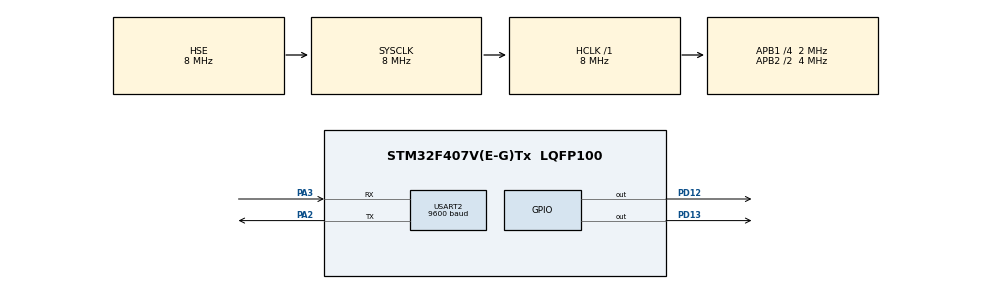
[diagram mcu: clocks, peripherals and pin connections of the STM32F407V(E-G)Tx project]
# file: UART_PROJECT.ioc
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Mcu.Family=STM32F4
Mcu.Name=STM32F407V(E-G)Tx
Mcu.Package=LQFP100
NVIC.PriorityGroup=NVIC_PRIORITYGROUP_0
NVIC.USART2_IRQn=true\:0\:0\:false\:false\:true\:true\:true\:true
PA2.Mode=Asynchronous
PA2.Signal=USART2_TX
PA3.Mode=Asynchronous
PA3.Signal=USART2_RX
PD12.Signal=GPIO_Output
PD13.Signal=GPIO_Output
PH0-OSC_IN.Mode=HSE-External-Oscillator
PH0-OSC_IN.Signal=RCC_OSC_IN
PH1-OSC_OUT.Mode=HSE-External-Oscillator
PH1-OSC_OUT.Signal=RCC_OSC_OUT
ProjectManager.HeapSize=0x200
ProjectManager.StackSize=0x400
ProjectManager.TargetToolchain=STM32CubeIDE
RCC.48MHZClocksFreq_Value=48000000
RCC.AHBFreq_Value=8000000
RCC.APB1CLKDivider=RCC_HCLK_DIV4
RCC.APB1Freq_Value=2000000
RCC.APB1TimFreq_Value=4000000
RCC.APB2CLKDivider=RCC_HCLK_DIV2
RCC.APB2Freq_Value=4000000
RCC.APB2TimFreq_Value=8000000
RCC.CortexFreq_Value=8000000
RCC.HCLKFreq_Value=8000000
RCC.HSE_VALUE=8000000
RCC.HSI_VALUE=16000000
RCC.LSE_VALUE=32768
RCC.PLLM=8
RCC.PLLN=336
RCC.PLLQ=7
RCC.PLLSourceVirtual=RCC_PLLSOURCE_HSE
RCC.SYSCLKFreq_VALUE=8000000
RCC.SYSCLKSource=RCC_SYSCLKSOURCE_HSE
RCC.VCOOutputFreq_Value=336000000
USART2.BaudRate=9600
USART2.VirtualMode=VM_ASYNC
board=STM32F407G-DISC1

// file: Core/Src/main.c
/* USER CODE BEGIN Header */
/**
  ******************************************************************************
  * @file           : main.c
  * @brief          : Main program body
  ******************************************************************************
  * @attention
  *
  * Copyright (c) 2024 STMicroelectronics.
  * All rights reserved.
  *
  * This software is licensed under terms that can be found in the LICENSE file
  * in the root directory of this software component.
  * If no LICENSE file comes with this software, it is provided AS-IS.
  *
  ******************************************************************************
  */
/* USER CODE END Header */
#include "main.h"

UART_HandleTypeDef huart2;

/* USER CODE BEGIN PV */
uint8_t *txData ;
uint8_t *rxData ;
UART_HandleTypeDef huart1 ;
volatile int flag = 0 ;

/* USER CODE END PV */

void SystemClock_Config(void);
static void MX_GPIO_Init(void);
static void MX_USART2_UART_Init(void);

/* USER CODE BEGIN 0 */

int cmpTableau(uint8_t* rxData ,uint8_t* txData){
	char i = 0;
	char test = 1;
	while( (test) && (i <= 3)){
		if (*(rxData + i) != *(txData + i))
				test = 0 ;
	    i ++;
	}
	return test ;
}

uint8_t * inverse_ping_pong (uint8_t *Data ) {
	if (Data == "ping")
		return ( uint8_t *)"pong";
	else
		return ( uint8_t *)"ping" ;
}

void HAL_UART_RxCpltCallback(UART_HandleTypeDef *huart)
{
	if (cmpTableau(rxData , ( uint8_t *)"ping")){
		HAL_GPIO_WritePin( GPIOD,  GPIO_PIN_12 , GPIO_PIN_SET);
		flag = 1;
	}
	else if (cmpTableau(rxData ,( uint8_t *) "pong")){

		HAL_GPIO_WritePin( GPIOD,  GPIO_PIN_13 , GPIO_PIN_SET);
		flag = 1;

	}

}

void HAL_UART_TxCpltCallback(UART_HandleTypeDef *huart)
{
	flag = 0 ;
	UART_Start_Receive_IT(&huart1, rxData , 5);

}
/* USER CODE END 0 */

int main(void)
{

  /* MCU Configuration--------------------------------------------------------*/

  /* Reset of all peripherals, Initializes the Flash interface and the Systick. */
  HAL_Init();

  /* Configure the system clock */
  SystemClock_Config();

  /* Initialize all configured peripherals */
  MX_GPIO_Init();
  MX_USART2_UART_Init();
  /* USER CODE BEGIN 2 */

  HAL_UART_Transmit_IT(&huart2,( uint8_t)"ping", 5);
  UART_Start_Receive_IT(&huart1, rxData , 5);

  /* USER CODE END 2 */

  /* Infinite loop */
  /* USER CODE BEGIN WHILE */
  while (1)
  {
	  if (flag){

		  txData = inverse_ping_pong (rxData ) ;
		  HAL_UART_Transmit_IT(&huart2, txData, 5);
	}

    /* USER CODE END WHILE */

  }
}

void SystemClock_Config(void)
{
  RCC_OscInitTypeDef RCC_OscInitStruct = {0};
  RCC_ClkInitTypeDef RCC_ClkInitStruct = {0};

  /** Configure the main internal regulator output voltage
  */
  __HAL_RCC_PWR_CLK_ENABLE();
  __HAL_PWR_VOLTAGESCALING_CONFIG(PWR_REGULATOR_VOLTAGE_SCALE1);

  /** Initializes the RCC Oscillators according to the specified parameters
  * in the RCC_OscInitTypeDef structure.
  */
  RCC_OscInitStruct.OscillatorType = RCC_OSCILLATORTYPE_HSE;
  RCC_OscInitStruct.HSEState = RCC_HSE_ON;
  RCC_OscInitStruct.PLL.PLLState = RCC_PLL_NONE;
  if (HAL_RCC_OscConfig(&RCC_OscInitStruct) != HAL_OK)
  {
    Error_Handler();
  }

  /** Initializes the CPU, AHB and APB buses clocks
  */
  RCC_ClkInitStruct.ClockType = RCC_CLOCKTYPE_HCLK|RCC_CLOCKTYPE_SYSCLK
                              |RCC_CLOCKTYPE_PCLK1|RCC_CLOCKTYPE_PCLK2;
  RCC_ClkInitStruct.SYSCLKSource = RCC_SYSCLKSOURCE_HSE;
  RCC_ClkInitStruct.AHBCLKDivider = RCC_SYSCLK_DIV1;
  RCC_ClkInitStruct.APB1CLKDivider = RCC_HCLK_DIV4;
  RCC_ClkInitStruct.APB2CLKDivider = RCC_HCLK_DIV2;

  if (HAL_RCC_ClockConfig(&RCC_ClkInitStruct, FLASH_LATENCY_0) != HAL_OK)
  {
    Error_Handler();
  }
}

static void MX_USART2_UART_Init(void)
{

  huart2.Instance = USART2;
  huart2.Init.BaudRate = 9600;
  huart2.Init.WordLength = UART_WORDLENGTH_8B;
  huart2.Init.StopBits = UART_STOPBITS_1;
  huart2.Init.Parity = UART_PARITY_NONE;
  huart2.Init.Mode = UART_MODE_TX_RX;
  huart2.Init.HwFlowCtl = UART_HWCONTROL_NONE;
  huart2.Init.OverSampling = UART_OVERSAMPLING_16;
  if (HAL_UART_Init(&huart2) != HAL_OK)
  {
    Error_Handler();
  }

}

static void MX_GPIO_Init(void)
{
  GPIO_InitTypeDef GPIO_InitStruct = {0};

  /* GPIO Ports Clock Enable */
  __HAL_RCC_GPIOH_CLK_ENABLE();
  __HAL_RCC_GPIOA_CLK_ENABLE();
  __HAL_RCC_GPIOD_CLK_ENABLE();

  /*Configure GPIO pin Output Level */
  HAL_GPIO_WritePin(GPIOD, GPIO_PIN_12|GPIO_PIN_13, GPIO_PIN_RESET);

  /*Configure GPIO pins : PD12 PD13 */
  GPIO_InitStruct.Pin = GPIO_PIN_12|GPIO_PIN_13;
  GPIO_InitStruct.Mode = GPIO_MODE_OUTPUT_PP;
  GPIO_InitStruct.Pull = GPIO_NOPULL;
  GPIO_InitStruct.Speed = GPIO_SPEED_FREQ_LOW;
  HAL_GPIO_Init(GPIOD, &GPIO_InitStruct);

}

void Error_Handler(void)
{
  /* USER CODE BEGIN Error_Handler_Debug */
  /* User can add his own implementation to report the HAL error return state */
  __disable_irq();
  while (1)
  {
	  HAL_GPIO_WritePin(GPIOD,GPIO_PIN_14,1);
  }
  /* USER CODE END Error_Handler_Debug */
}
